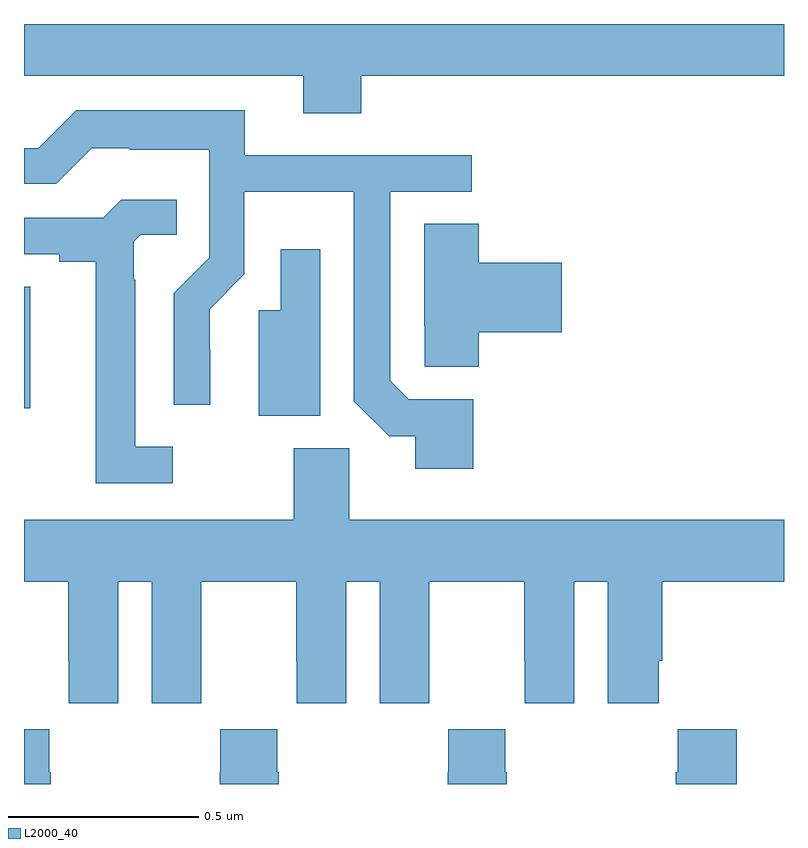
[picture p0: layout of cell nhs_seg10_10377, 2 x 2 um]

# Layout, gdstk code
import gdstk
lib = gdstk.Library(unit=1e-6, precision=1e-09)
def R(c, l, rs):  # rectangles x0, y0, x1, y1
    for r in rs: c.add(gdstk.rectangle(r[:2], r[2:], *l))
def P(c, l, *ps):  # polygons
    for p in ps: c.add(gdstk.Polygon(p, *l))
L2000_40 = (2000, 40)

nhs_seg10_10377 = lib.new_cell('nhs_seg10_10377')
R(nhs_seg10_10377, L2000_40, [(242,1251.489,242.017,1251.809)])
P(nhs_seg10_10377, L2000_40, [(242.888,1252.364),(244,1252.364),(244,1252.5),(242,1252.5),(242,1252.364),(242.735,1252.364),(242.735,1252.265),(242.888,1252.265)],
  [(243.182,1251.513),(243.012,1251.513),(242.964,1251.561),(242.964,1252.059),(243.178,1252.059),(243.178,1252.155),(242.581,1252.155),(242.581,1252.273),(242.137,1252.273),(242.037,1252.173),(242,1252.173),(242,1252.08),(242.085,1252.08),(242.178,1252.173),(242.278,1252.173),(242.278,1252.169),(242.487,1252.169),(242.487,1251.885),(242.394,1251.792),(242.394,1251.498),(242.49,1251.498),(242.49,1251.644),(242.489,1251.644),(242.489,1251.75),(242.58,1251.842),(242.58,1252.058),(242.868,1252.058),(242.868,1251.507),(242.961,1251.415),(243.029,1251.415),(243.029,1251.33),(243.182,1251.33)],
  [(242.392,1251.387),(242.293,1251.387),(242.293,1251.827),(242.289,1251.827),(242.289,1251.927),(242.307,1251.945),(242.402,1251.945),(242.402,1252.037),(242.256,1252.037),(242.208,1251.99),(242,1251.99),(242,1251.894),(242.093,1251.894),(242.093,1251.874),(242.189,1251.874),(242.189,1251.291),(242.392,1251.291)],
  [(243.197,1251.689),(243.415,1251.689),(243.415,1251.872),(243.197,1251.872),(243.197,1251.974),(243.053,1251.974),(243.053,1251.706),(243.054,1251.706),(243.054,1251.598),(243.197,1251.598)],
  [(242.779,1251.907),(242.675,1251.907),(242.675,1251.747),(242.618,1251.747),(242.618,1251.469),(242.779,1251.469)],
  [(242.248,1251.032),(242.336,1251.032),(242.336,1250.712),(242.466,1250.712),(242.466,1250.824),(242.467,1250.824),(242.467,1251.032),(242.717,1251.032),(242.717,1250.824),(242.718,1250.824),(242.718,1250.712),(242.848,1250.712),(242.848,1251.032),(242.936,1251.032),(242.936,1250.712),(243.066,1250.712),(243.066,1250.824),(243.067,1250.824),(243.067,1251.032),(243.317,1251.032),(243.317,1250.824),(243.318,1250.824),(243.318,1250.712),(243.448,1250.712),(243.448,1251.032),(243.536,1251.032),(243.536,1250.712),(243.67,1250.712),(243.67,1250.824),(243.68,1250.824),(243.68,1251.032),(244,1251.032),(244,1251.196),(242.856,1251.196),(242.856,1251.384),(242.71,1251.384),(242.71,1251.196),(242,1251.196),(242,1251.032),(242.117,1251.032),(242.117,1250.824),(242.118,1250.824),(242.118,1250.712),(242.248,1250.712)],
  [(242.07,1250.531),(242.067,1250.531),(242.067,1250.644),(242,1250.644),(242,1250.5),(242.07,1250.5)],
  [(243.27,1250.531),(243.267,1250.531),(243.267,1250.644),(243.117,1250.644),(243.117,1250.531),(243.115,1250.531),(243.115,1250.5),(243.27,1250.5)],
  [(242.67,1250.531),(242.667,1250.531),(242.667,1250.644),(242.517,1250.644),(242.517,1250.531),(242.515,1250.531),(242.515,1250.5),(242.67,1250.5)],
  [(243.875,1250.644),(243.721,1250.644),(243.721,1250.531),(243.715,1250.531),(243.715,1250.5),(243.875,1250.5)])

lib.write_gds('nhs_seg10_10377.gds')
